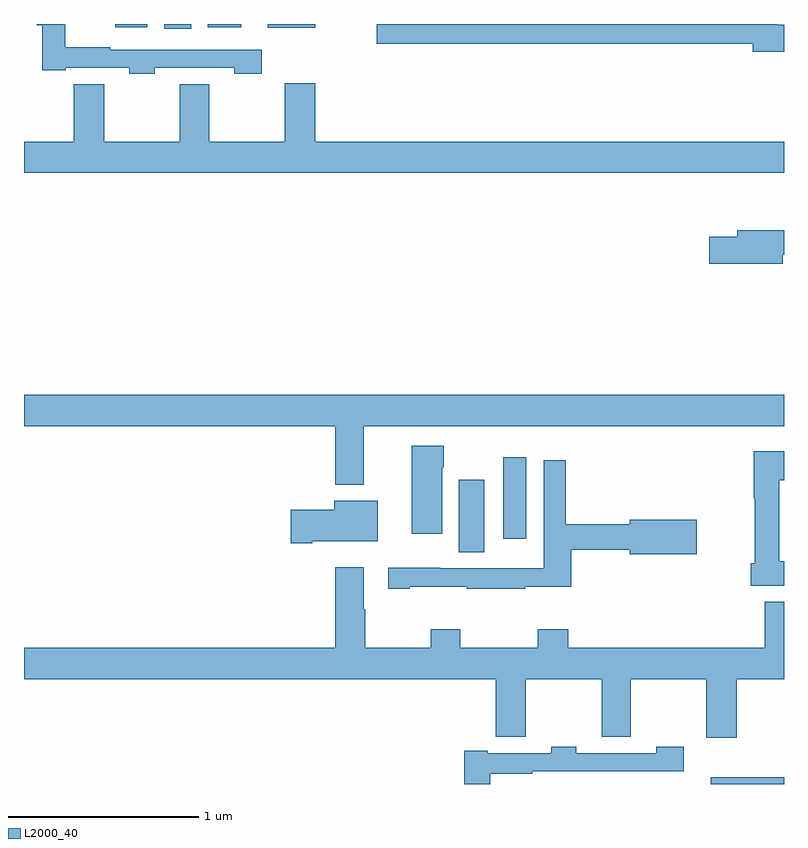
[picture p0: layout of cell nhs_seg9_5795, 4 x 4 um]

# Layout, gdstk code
import gdstk
lib = gdstk.Library(unit=1e-6, precision=1e-09)
def R(c, l, rs):  # rectangles x0, y0, x1, y1
    for r in rs: c.add(gdstk.rectangle(r[:2], r[2:], *l))
def P(c, l, *ps):  # polygons
    for p in ps: c.add(gdstk.Polygon(p, *l))
L2000_40 = (2000, 40)

nhs_seg9_5795 = lib.new_cell('nhs_seg9_5795')
R(nhs_seg9_5795, L2000_40, [(450.614,1230.5,451,1230.536), (449.288,1231.72,449.422,1232.101), (449.522,1231.791,449.644,1232.221), (447.737,1234.476,447.88,1234.5), (448.283,1234.481,448.534,1234.5), (447.479,1234.484,447.649,1234.5), (447.968,1234.484,448.144,1234.5)])
P(nhs_seg9_5795, L2000_40, [(447.687,1234.269),(448.107,1234.269),(448.107,1234.237),(448.252,1234.237),(448.252,1234.365),(447.455,1234.365),(447.455,1234.378),(447.218,1234.378),(447.218,1234.5),(447.068,1234.5),(447.068,1234.493),(447.097,1234.493),(447.097,1234.257),(447.22,1234.257),(447.22,1234.269),(447.555,1234.269),(447.555,1234.237),(447.687,1234.237)],
  [(451,1234.496),(450.964,1234.496),(450.964,1234.5),(448.857,1234.5),(448.857,1234.396),(450.836,1234.396),(450.836,1234.354),(451,1234.354)],
  [(451,1233.88),(448.532,1233.88),(448.532,1234.189),(448.372,1234.189),(448.372,1233.88),(447.974,1233.88),(447.974,1234.184),(447.82,1234.184),(447.82,1233.88),(447.422,1233.88),(447.422,1234.184),(447.263,1234.184),(447.263,1233.88),(447,1233.88),(447,1233.716),(451,1233.716)],
  [(450.994,1233.286),(451,1233.286),(451,1233.415),(450.755,1233.415),(450.755,1233.381),(450.606,1233.381),(450.606,1233.239),(450.994,1233.239)],
  [(448.789,1232.384),(451,1232.384),(451,1232.548),(447,1232.548),(447,1232.384),(448.637,1232.384),(448.637,1232.075),(448.789,1232.075)],
  [(449.2,1232.168),(449.208,1232.168),(449.208,1232.281),(449.042,1232.281),(449.042,1231.818),(449.2,1231.818)],
  [(451,1231.672),(450.976,1231.672),(450.976,1232.099),(451,1232.099),(451,1232.251),(450.842,1232.251),(450.842,1232.003),(450.847,1232.003),(450.847,1231.662),(450.824,1231.662),(450.824,1231.544),(451,1231.544)],
  [(449.029,1231.537),(449.329,1231.537),(449.329,1231.527),(449.639,1231.527),(449.639,1231.537),(449.879,1231.537),(449.879,1231.732),(450.188,1231.732),(450.188,1231.709),(450.541,1231.709),(450.541,1231.892),(450.188,1231.892),(450.188,1231.868),(449.852,1231.868),(449.852,1232.203),(449.736,1232.203),(449.736,1231.636),(449.526,1231.636),(449.526,1231.635),(449.192,1231.635),(449.192,1231.637),(448.917,1231.637),(448.917,1231.527),(449.029,1231.527)],
  [(448.516,1231.778),(448.861,1231.778),(448.861,1231.99),(448.634,1231.99),(448.634,1231.944),(448.404,1231.944),(448.404,1231.766),(448.516,1231.766)],
  [(450.752,1231.052),(451,1231.052),(451,1231.459),(450.899,1231.459),(450.899,1231.216),(449.864,1231.216),(449.864,1231.315),(449.704,1231.315),(449.704,1231.216),(449.295,1231.216),(449.295,1231.315),(449.14,1231.315),(449.14,1231.216),(448.797,1231.216),(448.797,1231.421),(448.789,1231.421),(448.789,1231.642),(448.637,1231.642),(448.637,1231.216),(447,1231.216),(447,1231.052),(449.483,1231.052),(449.483,1230.748),(449.642,1230.748),(449.642,1231.052),(450.04,1231.052),(450.04,1230.748),(450.194,1230.748),(450.194,1231.052),(450.592,1231.052),(450.592,1230.744),(450.752,1230.744)],
  [(449.453,1230.555),(449.675,1230.555),(449.675,1230.567),(450.472,1230.567),(450.472,1230.696),(450.327,1230.696),(450.327,1230.663),(449.907,1230.663),(449.907,1230.696),(449.775,1230.696),(449.775,1230.663),(449.44,1230.663),(449.44,1230.676),(449.317,1230.676),(449.317,1230.5),(449.453,1230.5)])

lib.write_gds('nhs_seg9_5795.gds')
